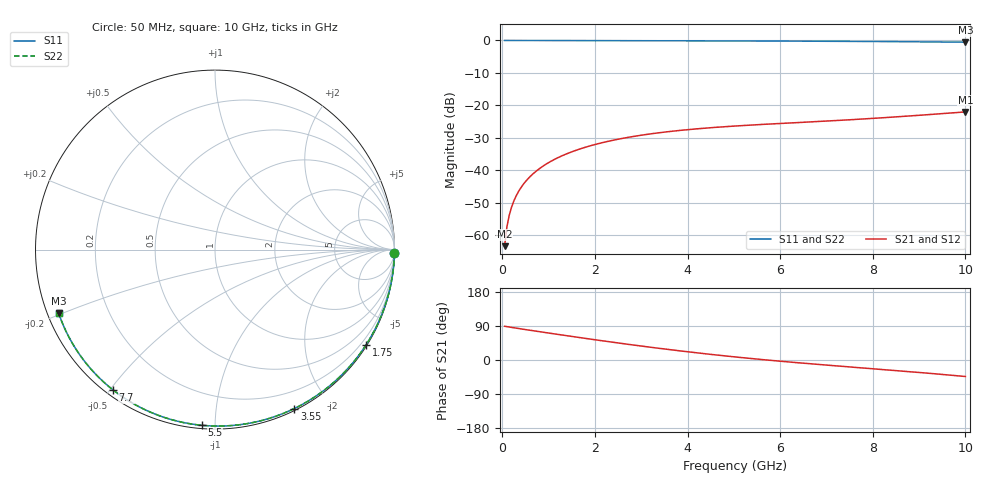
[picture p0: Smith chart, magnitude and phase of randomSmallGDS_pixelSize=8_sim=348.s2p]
! freq	dB(S11)	phase(S11)	dB(S12)	phase(S12)
!  dB(S21)	phase(S21)	dB(S22)	phase(S22)
!S-par simulation data
#  GHz  S  DB  R 50
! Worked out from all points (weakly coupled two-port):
!   200 points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, 50 MHz to 10 GHz, reference 50 ohm
!   highest |S21| = -22.04 dB at 10 GHz (marker M1); lowest = -63.4 dB at 50 MHz (marker M2)
!   lowest |S11| = -0.5 dB at 10 GHz (marker M3), VSWR 32.47, Z = 1.6 - j9.78 ohm
!   |S11| at or under -10 dB: nowhere
!   |S22| runs from -0.5 to 0.0 dB; largest |S21 - S12| = 0
!   S11 on the Smith chart (normalised r, x): 50 MHz: open; 1.75 GHz: 0.03, -3.46; 3.55 GHz: 0.02, -1.62; 5.5 GHz: 0.02, -0.93; 7.7 GHz: 0.02, -0.51; 10 GHz: 0.03, -0.20
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0.05  -0.00 -0.9  -63.45 89.0  -63.45 89.0  -0.00 -0.9
0.1  -0.00 -1.9  -57.43 88.0  -57.43 88.0  -0.00 -1.9
0.15  -0.00 -2.8  -53.91 87.0  -53.91 87.0  -0.00 -2.8
0.2  -0.00 -3.8  -51.42 86.0  -51.42 86.0  -0.00 -3.8
0.25  -0.00 -4.7  -49.50 85.0  -49.50 85.0  -0.00 -4.7
0.35  -0.00 -6.6  -46.60 83.1  -46.60 83.1  -0.00 -6.6
0.5  -0.01 -9.4  -43.54 80.3  -43.54 80.3  -0.01 -9.4
0.7  -0.01 -13.1  -40.68 76.6  -40.68 76.6  -0.01 -13.1
1  -0.02 -18.6  -37.67 71.1  -37.67 71.1  -0.02 -18.6
1.35  -0.03 -25.0  -35.20 64.9  -35.20 64.9  -0.03 -25.0
1.75  -0.04 -32.3  -33.12 57.8  -33.12 57.8  -0.04 -32.3
2.5  -0.06 -45.6  -30.46 44.9  -30.46 44.9  -0.06 -45.6
3.4  -0.09 -61.0  -28.44 30.6  -28.44 30.6  -0.09 -61.0
3.55  -0.09 -63.5  -28.18 28.3  -28.18 28.3  -0.09 -63.5
4.3  -0.11 -75.7  -27.14 17.5  -27.14 17.5  -0.11 -75.7
5.05  -0.14 -87.5  -26.37 7.8  -26.37 7.8  -0.14 -87.4
5.5  -0.16 -94.3  -25.99 2.4  -25.99 2.4  -0.16 -94.3
6.7  -0.22 -111.9  -25.09 -10.5  -25.09 -10.5  -0.22 -111.9
7.7  -0.30 -126.0  -24.30 -20.1  -24.30 -20.1  -0.30 -126.0
8.35  -0.35 -135.0  -23.72 -26.3  -23.72 -26.3  -0.35 -135.0
9.2  -0.44 -146.7  -22.88 -34.9  -22.88 -34.9  -0.44 -146.7
10  -0.54 -157.8  -22.04 -43.5  -22.04 -43.5  -0.54 -157.8
